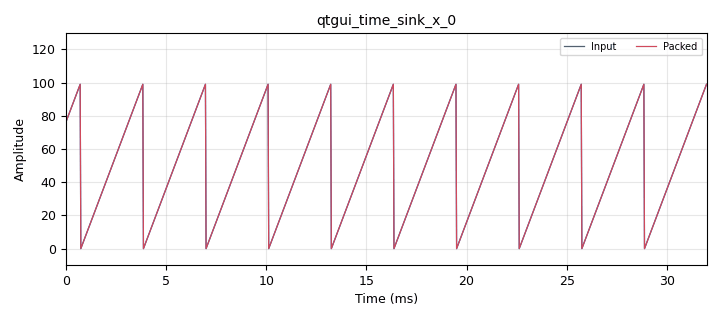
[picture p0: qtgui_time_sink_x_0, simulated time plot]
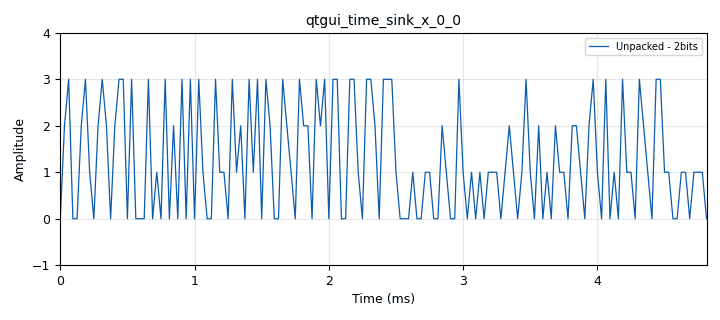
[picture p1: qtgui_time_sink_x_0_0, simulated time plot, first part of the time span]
<?xml version='1.0' encoding='utf-8'?>
<?grc format='1' created='3.7.7'?>
<flow_graph>
<block>
<key>options</key>
<param><key>id</key><value>blocks_packing</value></param>
<param><key>generate_options</key><value>qt_gui</value></param>
<param><key>category</key><value>Custom</value></param>
</block>
<block>
<key>variable</key>
<param><key>id</key><value>bits</value></param>
<param><key>value</key><value>2</value></param>
</block>
<block>
<key>variable</key>
<param><key>id</key><value>samp_rate</value></param>
<param><key>value</key><value>32000</value></param>
</block>
<block>
<key>blocks_vector_source_x</key>
<param><key>id</key><value>blocks_vector_source_x_0</value></param>
<param><key>type</key><value>byte</value></param>
<param><key>vector</key><value>range(0, 100)</value></param>
<param><key>repeat</key><value>True</value></param>
</block>
<block>
<key>blocks_throttle</key>
<param><key>id</key><value>blocks_throttle_0</value></param>
<param><key>type</key><value>byte</value></param>
<param><key>samples_per_second</key><value>samp_rate</value></param>
</block>
<block>
<key>blocks_char_to_float</key>
<param><key>id</key><value>blocks_char_to_float_0_1</value></param>
<param><key>scale</key><value>1</value></param>
</block>
<block>
<key>blocks_char_to_float</key>
<param><key>id</key><value>blocks_char_to_float_0</value></param>
<param><key>scale</key><value>1</value></param>
</block>
<block>
<key>blocks_char_to_float</key>
<param><key>id</key><value>blocks_char_to_float_0_0</value></param>
<param><key>scale</key><value>1</value></param>
</block>
<block>
<key>qtgui_time_sink_x</key>
<param><key>id</key><value>qtgui_time_sink_x_0</value></param>
<param><key>type</key><value>float</value></param>
<param><key>name</key><value></value></param>
<param><key>size</key><value>1024</value></param>
<param><key>srate</key><value>samp_rate</value></param>
<param><key>ymin</key><value>-10</value></param>
<param><key>ymax</key><value>130</value></param>
<param><key>nconnections</key><value>2</value></param>
<param><key>gui_hint</key><value>0,0,1,1</value></param>
<param><key>label1</key><value>Input</value></param>
<param><key>color1</key><value>"blue"</value></param>
<param><key>label2</key><value>Packed</value></param>
<param><key>color2</key><value>"red"</value></param>
</block>
<block>
<key>qtgui_time_sink_x</key>
<param><key>id</key><value>qtgui_time_sink_x_0_0</value></param>
<param><key>type</key><value>float</value></param>
<param><key>name</key><value></value></param>
<param><key>size</key><value>1024</value></param>
<param><key>srate</key><value>samp_rate</value></param>
<param><key>ymax</key><value>2**bits</value></param>
<param><key>gui_hint</key><value>1,0,1,1</value></param>
<param><key>label1</key><value>Unpacked - 2bits</value></param>
<param><key>color1</key><value>"blue"</value></param>
</block>
<block>
<key>blocks_packed_to_unpacked_xx</key>
<param><key>id</key><value>blocks_packed_to_unpacked_xx_0</value></param>
<param><key>type</key><value>byte</value></param>
<param><key>bits_per_chunk</key><value>bits</value></param>
<param><key>endianness</key><value>gr.GR_MSB_FIRST</value></param>
</block>
<block>
<key>blocks_unpacked_to_packed_xx</key>
<param><key>id</key><value>blocks_unpacked_to_packed_xx_0</value></param>
<param><key>type</key><value>byte</value></param>
<param><key>bits_per_chunk</key><value>bits</value></param>
<param><key>endianness</key><value>gr.GR_MSB_FIRST</value></param>
</block>
<connection><source_block_id>blocks_packed_to_unpacked_xx_0</source_block_id><sink_block_id>blocks_unpacked_to_packed_xx_0</sink_block_id><source_key>0</source_key><sink_key>0</sink_key></connection>
<connection><source_block_id>blocks_unpacked_to_packed_xx_0</source_block_id><sink_block_id>blocks_char_to_float_0</sink_block_id><source_key>0</source_key><sink_key>0</sink_key></connection>
<connection><source_block_id>blocks_char_to_float_0_1</source_block_id><sink_block_id>qtgui_time_sink_x_0</sink_block_id><source_key>0</source_key><sink_key>0</sink_key></connection>
<connection><source_block_id>blocks_throttle_0</source_block_id><sink_block_id>blocks_packed_to_unpacked_xx_0</sink_block_id><source_key>0</source_key><sink_key>0</sink_key></connection>
<connection><source_block_id>blocks_throttle_0</source_block_id><sink_block_id>blocks_char_to_float_0_1</sink_block_id><source_key>0</source_key><sink_key>0</sink_key></connection>
<connection><source_block_id>blocks_vector_source_x_0</source_block_id><sink_block_id>blocks_throttle_0</sink_block_id><source_key>0</source_key><sink_key>0</sink_key></connection>
<connection><source_block_id>blocks_packed_to_unpacked_xx_0</source_block_id><sink_block_id>blocks_char_to_float_0_0</sink_block_id><source_key>0</source_key><sink_key>0</sink_key></connection>
<connection><source_block_id>blocks_char_to_float_0</source_block_id><sink_block_id>qtgui_time_sink_x_0</sink_block_id><source_key>0</source_key><sink_key>1</sink_key></connection>
<connection><source_block_id>blocks_char_to_float_0_0</source_block_id><sink_block_id>qtgui_time_sink_x_0_0</sink_block_id><source_key>0</source_key><sink_key>0</sink_key></connection>
</flow_graph>
